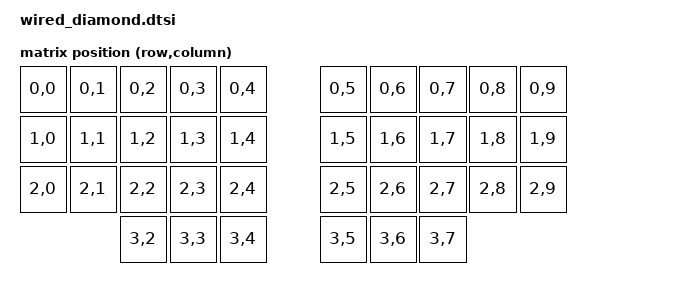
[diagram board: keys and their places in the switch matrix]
/*
 * Copyright (c) 2021 The ZMK Contributors
 *
 * SPDX-License-Identifier: MIT
 */

#include <dt-bindings/zmk/matrix_transform.h>
#include <rpi_pico/rp2040.dtsi>
#include <dt-bindings/pinctrl/rpi-pico-rp2040-pinctrl.h>

/ {
    chosen {
        zmk,kscan = &default_kscan;
        zmk,matrix_transform = &default_transform;
        zmk,split-uart = &uart0;
    };

    default_transform: keymap_transform_0 {
        compatible = "zmk,matrix-transform";
        columns = <10>;
        rows = <4>;
        map = <
        RC(0,0) RC(0,1) RC(0,2) RC(0,3) RC(0,4)   RC(0,5) RC(0,6) RC(0,7) RC(0,8) RC(0,9)
        RC(1,0) RC(1,1) RC(1,2) RC(1,3) RC(1,4)   RC(1,5) RC(1,6) RC(1,7) RC(1,8) RC(1,9) 
        RC(2,0) RC(2,1) RC(2,2) RC(2,3) RC(2,4)   RC(2,5) RC(2,6) RC(2,7) RC(2,8) RC(2,9)
                        RC(3,2) RC(3,3) RC(3,4)   RC(3,5) RC(3,6) RC(3,7)             
        >;
    };

    default_kscan: kscan_0 {
        compatible = "zmk,kscan-gpio-matrix";
        diode-direction = "col2row";
        wakeup-source;
    };

};

&xiao_serial { status = "okay"; };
